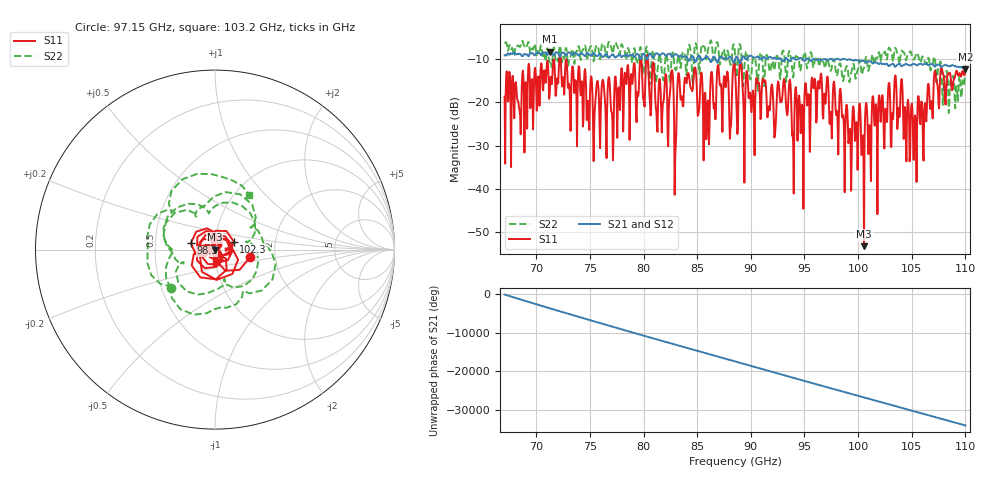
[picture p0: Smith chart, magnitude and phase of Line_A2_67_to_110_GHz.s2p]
#  HZ  S  MA  R  50.00
! Rohde & Schwarz ZVA67 4Ports - Version 4.11 - 1305.7002k04 SN: 101051
! Date: 2023-09-13 16:58:52
! Measurements: S11 S21 S12 S22
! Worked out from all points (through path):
!   860 points, 67.05 GHz to 110 GHz, reference 50 ohm
!   highest |S21| = -8.20 dB at 71.25 GHz (marker M1); lowest = -12.3 dB at 110 GHz (marker M2)
!   lowest |S11| = -53.3 dB at 100.5 GHz (marker M3), VSWR 1.00, Z = 49.8 + j0.0421 ohm
!   |S11| at or under -10 dB: start of sweep to 71.65 GHz; 72.8 GHz to 79.69 GHz (6.89 GHz wide, 9.04 % of centre); 80.4 GHz to end of sweep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
!   |S22| runs from -22.4 to -5.6 dB; largest |S21 - S12| = 0.045
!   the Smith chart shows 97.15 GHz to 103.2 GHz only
!   S11 on the Smith chart (normalised r, x): 97.15 GHz: 1.48, -0.13; 98.3 GHz: 0.76, +0.06; 102.3 GHz: 1.23, +0.11; 103.2 GHz: 1.01, -0.13
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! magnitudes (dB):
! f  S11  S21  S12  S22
! 67.05 GHz  -18.7  -9.0  -9.0  -6.0
! 71.25 GHz  -18.2  -8.2  -8.2  -10.7
! 74.25 GHz  -15.1  -8.7  -8.7  -8.4
! 77.1 GHz  -24.2  -8.8  -8.8  -8.5
! 80.35 GHz  -9.0  -9.9  -9.9  -7.6
! 81.4 GHz  -17.0  -8.9  -8.9  -9.8
! 82.95 GHz  -32.6  -8.8  -8.7  -12.4
! 84.05 GHz  -14.8  -9.5  -9.4  -12.0
! 86 GHz  -19.5  -9.6  -9.6  -7.8
! 88.55 GHz  -13.1  -10.0  -9.9  -9.5
! 93.05 GHz  -15.0  -10.3  -10.3  -8.1
! 93.95 GHz  -29.7  -9.6  -9.6  -14.2
! 95.7 GHz  -14.2  -10.3  -10.2  -9.4
! 97.15 GHz  -14.0  -10.2  -10.2  -9.7
! 98.3 GHz  -17.1  -10.1  -10.1  -10.9
! 100.5 GHz  -53.3  -10.4  -10.3  -12.0
! 102.3 GHz  -18.9  -11.1  -11.1  -8.3
! 102.8 GHz  -15.6  -11.6  -11.6  -7.3
! 103.2 GHz  -23.5  -11.1  -11.1  -8.9
! 105.3 GHz  -23.0  -11.1  -11.1  -9.7
! 107.2 GHz  -14.1  -11.5  -11.4  -12.9
! 110 GHz  -12.7  -12.3  -12.2  -12.3
